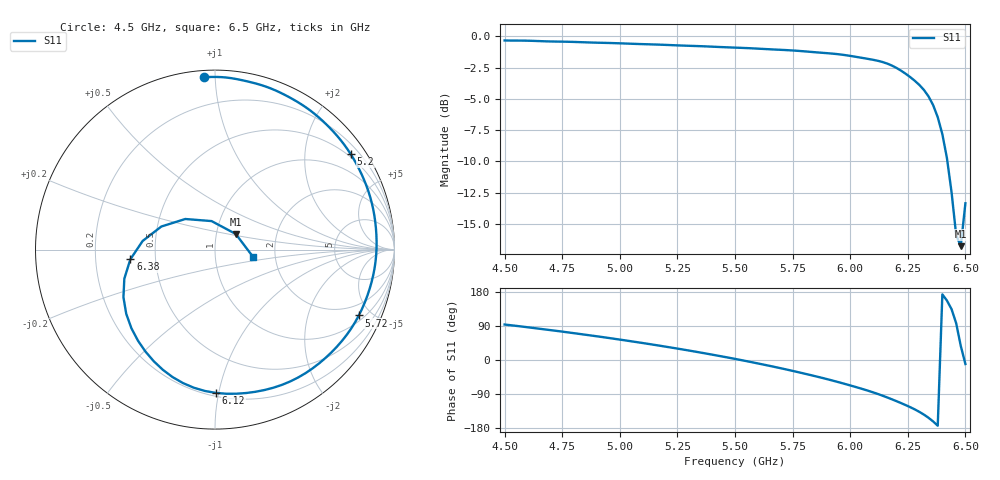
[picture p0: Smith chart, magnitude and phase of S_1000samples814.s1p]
! TOUCHSTONE file generated by CST MICROWAVE STUDIO
! Date and time: Sat Oct 29 11:52:55 2022
! Project name: L.cst
! Parameters = {Di=1.27; Epsilon_r=1.56; InnerDiameter=1.27; Length=2; Lf=10; Lg=60; OuterConductorThickness=0.2921; OuterDiameter=3.6; Wf=3; Wp=41.2; de=1.5; df=6.8; g=0.8; gx=4.88311; gy=3.25414; h=2.34; hf=1.524; px=9.94151; py=13.7861; w=9.7; wx=5.0584; wy=10.532}
! Header version: 2018
! Port assignment regex: !\s*Touchstone port\s*([0-9]+)\s*=\s*(CST MWS port|CST DS port)\s*([0-9]+|Zmin|Zmax)\s*\(\"(.*)\"\)(\s*mode\s*([0-9]+))?.*
! Touchstone port assignment:
! Touchstone port 1 = CST MWS port 1 ("")
# GHz S DB R 50
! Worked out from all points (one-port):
!   101 points, 4.5 GHz to 6.5 GHz, reference 50 ohm
!   lowest |S11| = -16.8 dB at 6.48 GHz (marker M1), VSWR 1.34, Z = 62 + j11 ohm
!   |S11| at or under -10 dB: 6.422 GHz to end of sweep
!   S11 on the Smith chart (normalised r, x): 4.5 GHz: 0.04, +0.94; 5.2 GHz: 0.43, +3.11; 5.72 GHz: 1.28, -4.21; 6.12 GHz: 0.22, -0.98; 6.38 GHz: 0.36, -0.05; 6.5 GHz: 1.53, -0.13
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4.5  -0.33 93.6
4.62  -0.36 84.8
4.76  -0.43 74.1
4.88  -0.50 64.2
5  -0.56 53.8
5.2  -0.68 35.1
5.26  -0.73 29.1
5.38  -0.81 16.4
5.5  -0.90 2.9
5.6  -0.98 -9.2
5.72  -1.10 -24.6
5.76  -1.14 -30.1
5.88  -1.32 -47.5
6  -1.56 -67.1
6.06  -1.75 -77.8
6.12  -1.96 -89.7
6.18  -2.33 -103.5
6.26  -3.25 -124.3
6.3  -3.88 -136.8
6.34  -4.81 -152.5
6.36  -5.50 -162.2
6.38  -6.47 -173.5
6.4  -7.83 173.2
6.42  -9.75 156.7
6.44  -12.49 134.1
6.46  -15.91 96.9
6.48  -16.79 37.1
6.5  -13.36 -10.5
